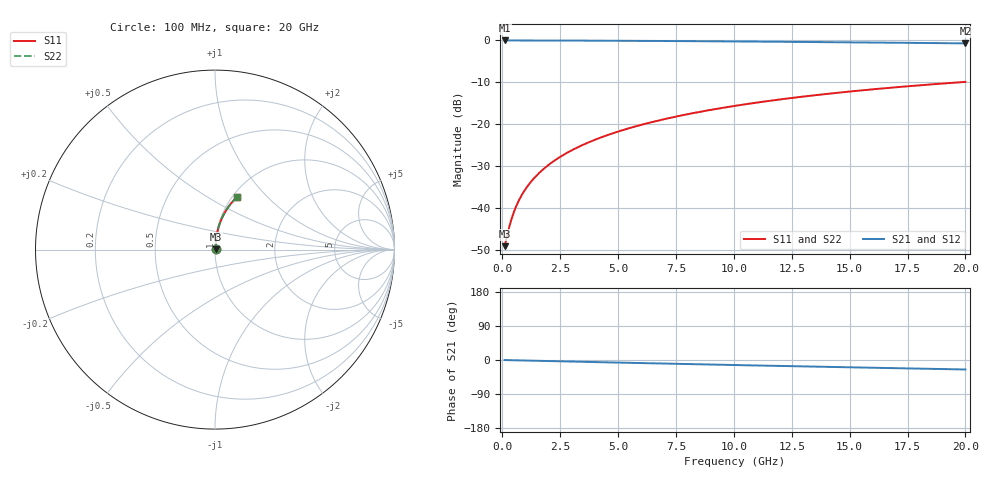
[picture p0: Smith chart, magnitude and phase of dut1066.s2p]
! Touchstone file exported from HFSS 2024.1.0
!  File:  C:/UserFiles/LocalFiles/RDL_TSV_Batchsim/temp_RDL_bottom_1066_1780052570.aedt
!  Generated:  07:05:30 PM May 29, 2026
!  Design:  RDL_bottom
!  Project:  temp_RDL_bottom_1066_1780052570
!  Setup:  Setup1
!  Solution:  Sweep
! Variables:
!  dtsv = 10.80580581um
!  hbump = 3um
!  htsv = 70.81um
!  ldown = 261.4um
!  lrdl = 100um
!  p = 40
!  p1 = 54.89um
!  rhole = 1um
!  t = 450um
!  tdown = 2.29um
!  trdl = 3.915915916um
!  wdown = 14.28um
!  wrdl = 20um
# GHz S MA R 50.000000
! Terminal data exported
! Port[1] = RDL1_T1
! Port[2] = RDL1_T2
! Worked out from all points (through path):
!   200 points, 100 MHz to 20 GHz, reference 50 ohm
!   highest |S21| = -0.03 dB at 100 MHz (marker M1); lowest = -0.7 dB at 20 GHz (marker M2)
!   group delay of S21, straight-line fit = 3.46 ps
!   lowest |S11| = -49.1 dB at 100 MHz (marker M3), VSWR 1.01, Z = 50.3 + j0.17 ohm
!   |S11| at or under -10 dB: start of sweep to 19.75 GHz
!   |S22| runs from -49.1 to -9.9 dB; largest |S21 - S12| = 3.5e-15
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0.1  0.003523 28.6  0.9969 -0.1  0.9969 -0.1  0.003523 28.6
! Gamma 0 0 0 0
! Port Impedance 50 0 50 0
0.3  0.005959 57.8  0.9968 -0.4  0.9968 -0.4  0.005959 57.8
0.4  0.007441 64.2  0.9967 -0.6  0.9967 -0.6  0.007441 64.2
0.5  0.008975 68.3  0.9967 -0.7  0.9967 -0.7  0.008975 68.3
0.6  0.01053 71.2  0.9966 -0.8  0.9966 -0.8  0.01053 71.2
0.7  0.0121 73.3  0.9965 -1.0  0.9965 -1.0  0.0121 73.3
0.9  0.01526 76.3  0.9963 -1.3  0.9963 -1.3  0.01526 76.3
1.2  0.02001 78.9  0.996 -1.7  0.996 -1.7  0.02001 78.9
1.4  0.0232 80.0  0.9958 -2.0  0.9958 -2.0  0.0232 80.0
1.7  0.02799 81.2  0.9954 -2.4  0.9954 -2.4  0.02799 81.2
2.2  0.03603 82.4  0.9947 -3.1  0.9947 -3.1  0.03603 82.4
2.8  0.04573 83.0  0.9938 -3.9  0.9938 -3.9  0.04573 83.0
3.5  0.05713 83.3  0.9924 -4.8  0.9924 -4.8  0.05713 83.3
4.2  0.0686 83.2  0.9908 -5.8  0.9908 -5.8  0.0686 83.2
5  0.08179 82.9  0.9887 -6.8  0.9887 -6.8  0.08179 82.9
5.9  0.0967 82.4  0.986 -8.0  0.986 -8.0  0.0967 82.4
6.8  0.1117 81.7  0.983 -9.2  0.983 -9.2  0.1117 81.7
8.3  0.1367 80.3  0.9775 -11.1  0.9775 -11.1  0.1367 80.3
10.1  0.1665 78.5  0.9702 -13.4  0.9702 -13.4  0.1666 78.5
13.4  0.2202 74.7  0.9551 -17.4  0.9551 -17.4  0.2202 74.7
16.7  0.2714 70.9  0.9383 -21.3  0.9383 -21.3  0.2715 70.9
20  0.3198 67.1  0.9202 -25.0  0.9202 -25.0  0.3198 67.1
